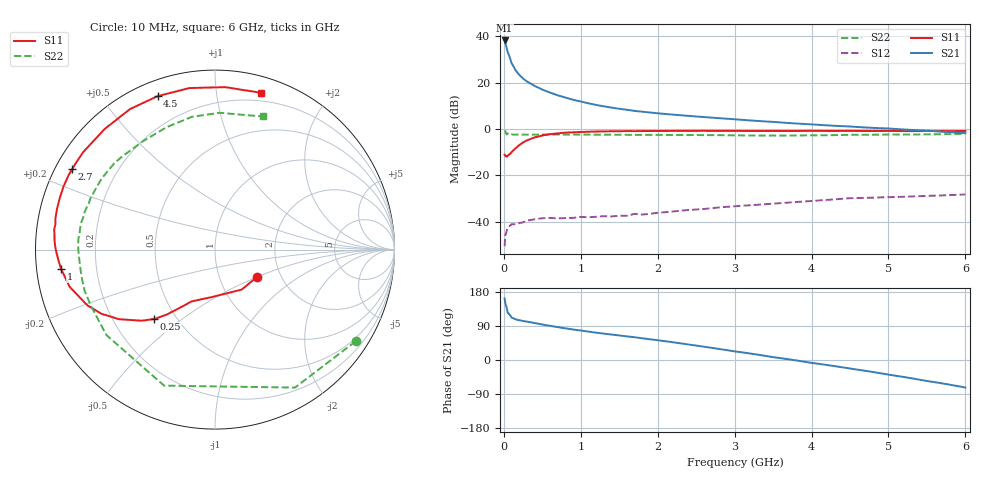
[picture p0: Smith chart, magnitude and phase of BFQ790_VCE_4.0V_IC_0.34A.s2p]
! Infineon Technologies  Discrete & RF Semiconductors
! BFQ790
! VCE =  4.0 V,  IC = 0.34 A
! Common Emitter S-Parameters:  May 2015
# GHz  S  MA  R  50
!  f  S11  S21  S12  S22
! GHz  MAG  ANG  MAG  ANG  MAG  ANG  MAG  ANG
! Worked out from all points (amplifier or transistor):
!   77 points, 10 MHz to 6 GHz, reference 50 ohm
!   highest |S21| = 38.2 dB at 10 MHz (marker M1)
!   |S21| within 3 dB of that: start of sweep to 35 MHz
!   unconditionally stable (mu >= 1): 163.5 MHz to end of sweep
!   at 130 MHz: K = 0.85, MSG = 33.9 dB, |S12| = -41.0 dB
!   at 2.2 GHz: K = 1.37, MAG = 17.2 dB, |S12| = -35.5 dB
!   at 6 GHz: K = 1.10, MAG = 11.3 dB, |S12| = -28.2 dB
!   S11 on the Smith chart (normalised r, x): 10 MHz: 1.51, -0.50; 250 MHz: 0.38, -0.40; 1 GHz: 0.07, -0.06; 2.7 GHz: 0.05, +0.26; 4.5 GHz: 0.07, +0.69; 6 GHz: 0.13, +1.33
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0.01  0.2791 -33.0  80.98 162.4  0.003 72.1  0.9355 -33.1
0.02  0.2681 -56.2  71.55 148.2  0.0052 61.9  0.8885 -59.9
0.05  0.2665 -94.8  45.57 124.5  0.0075 34.6  0.8092 -110.5
0.1  0.3162 -114.2  26.34 111.9  0.0089 21.2  0.7699 -141.8
0.15  0.3819 -121.4  18.64 107.3  0.0089 21.9  0.7587 -155.3
0.2  0.4509 -126.6  14.69 104.9  0.0094 20.5  0.7618 -162.3
0.25  0.5141 -131.2  12.28 103.0  0.0098 18.3  0.7591 -166.9
0.3  0.5693 -135.9  10.58 101.2  0.0107 13.6  0.7578 -170.5
0.4  0.6612 -144.1  8.476 97.4  0.0114 15.9  0.758 -175.5
0.5  0.7267 -150.5  7.081 93.7  0.012 13.6  0.7606 -179.0
0.7  0.806 -161.6  5.331 86.8  0.0119 14.8  0.7633 175.5
0.9  0.8503 -169.8  4.279 80.4  0.0122 10.9  0.7602 171.8
1  0.8646 -172.9  3.913 77.8  0.0128 11.4  0.7612 170.0
1.1  0.8749 -176.3  3.584 74.9  0.0126 14.3  0.7601 168.2
1.5  0.8982 174.7  2.733 64.8  0.0136 15.3  0.7538 162.5
2.1  0.9097 163.4  2.113 49.5  0.0162 17.9  0.7463 153.7
2.7  0.9132 150.7  1.762 32.1  0.0197 13.9  0.7394 141.9
3.1  0.9102 141.4  1.578 20.1  0.0223 8.6  0.7289 132.9
4.1  0.912 119.1  1.23 -10.3  0.029 -6.5  0.7344 109.2
4.5  0.9128 110.5  1.135 -22.5  0.0324 -14.0  0.7511 99.8
5.1  0.9069 96.5  1.002 -41.7  0.0344 -26.5  0.7616 85.9
6  0.9103 73.7  0.819 -72.7  0.039 -48.0  0.7883 70.3
